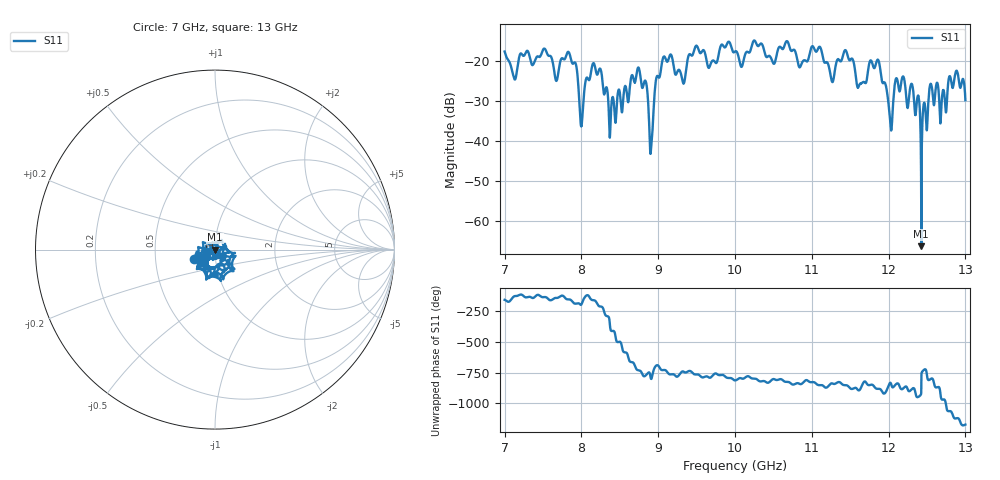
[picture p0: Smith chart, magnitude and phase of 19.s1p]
[Version] 2.0
! Rohde & Schwarz Vector Network Analyzer
! Rohde-Schwarz,ZNL20-2Port,1323001220200009,1.71.1.10-23.02.1.238
! Trace info:
! Nominal Param -> Actual Exported Buffer
! S11 -> S22
! Created: GMT+3 2024-09-24 16:40:20
# Hz S DB R 50
[Number of Ports] 1
! freq[Hz]  S11[mag dB]  S11[ang]
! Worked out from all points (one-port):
!   6001 points, 7 GHz to 13 GHz, reference 50 ohm
!   lowest |S11| = -66.2 dB at 12.43 GHz (marker M1), VSWR 1.00, Z = 50 - j0.0484 ohm
!   |S11| at or under -10 dB: start of sweep to end of sweep
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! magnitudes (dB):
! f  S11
! 7 GHz  -17.8
! 7.129 GHz  -24.6
! 7.75 GHz  -19.4
! 7.921 GHz  -20.6
! 7.998 GHz  -36.3
! 8.155 GHz  -20.6
! 8.371 GHz  -39.0
! 8.5 GHz  -27.9
! 8.745 GHz  -21.8
! 8.843 GHz  -25.5
! 8.908 GHz  -41.9
! 8.972 GHz  -24.7
! 9.065 GHz  -19.2
! 9.25 GHz  -22.7
! 10 GHz  -17.8
! 10.75 GHz  -17.5
! 11.1 GHz  -16.6
! 11.27 GHz  -25.3
! 11.5 GHz  -19.9
! 11.61 GHz  -26.3
! 11.86 GHz  -19.8
! 12.03 GHz  -36.5
! 12.1 GHz  -24.4
! 12.25 GHz  -31.7
! 12.3 GHz  -25.9
! 12.43 GHz  -66.2
! 12.55 GHz  -25.8
! 13 GHz  -29.8
